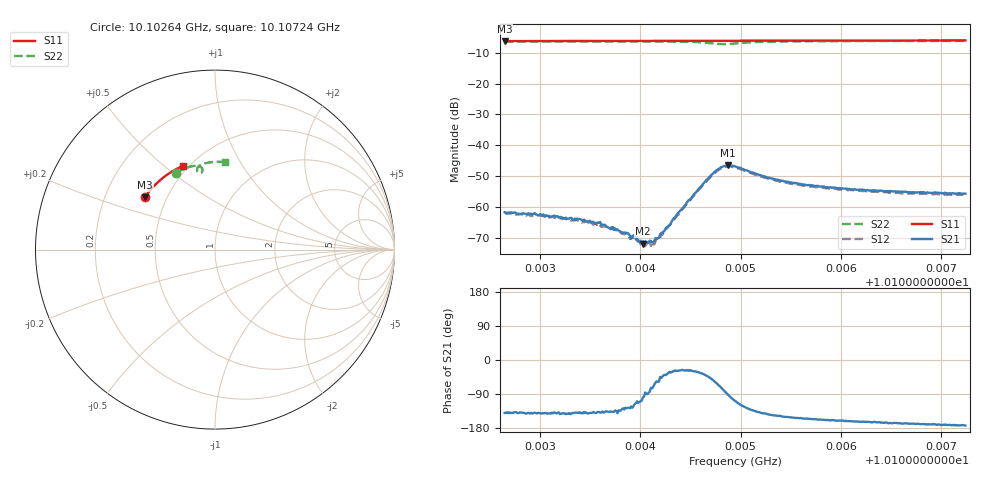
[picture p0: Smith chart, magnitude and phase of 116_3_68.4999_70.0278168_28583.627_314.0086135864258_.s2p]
#  HZ  S  RI  R  50.00
! Rohde & Schwarz Vector Network Analyzer
! Rohde-Schwarz,ZNB20-2Port,1311601062101988,3.16
! Created: UTC 3/20/2024, 4:53:47 PM
! freq[Hz]  re:S11  im:S11  re:S21  im:S21  re:S12  im:S12  re:S22  im:S22
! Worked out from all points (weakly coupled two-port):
!   401 points, 10.10264 GHz to 10.10724 GHz, reference 50 ohm
!   highest |S21| = -46.55 dB at 10.10488 GHz (marker M1); lowest = -71.9 dB at 10.10402 GHz (marker M2)
!   lowest |S11| = -6.2 dB at 10.10264 GHz (marker M3), VSWR 2.90, Z = 18.9 + j14.5 ohm
!   |S11| at or under -10 dB: nowhere
!   |S22| runs from -7.2 to -6.2 dB; largest |S21 - S12| = 0.00048
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1.0102645e10  -0.3901 0.292  -0.00063 -0.000535  -0.000548 -0.00058  -0.2189 0.4268
1.010299e10  -0.3781 0.3091  -0.000564 -0.000476  -0.000527 -0.000506  -0.1987 0.4376
1.0103415e10  -0.3621 0.3295  -0.000464 -0.000404  -0.000389 -0.000403  -0.1727 0.4495
1.0103484e10  -0.3593 0.3326  -0.000447 -0.000367  -0.0004 -0.000377  -0.1682 0.4513
1.0103576e10  -0.3558 0.3369  -0.000415 -0.000379  -0.000374 -0.000383  -0.1623 0.4538
1.010368e10  -0.3515 0.3417  -0.000337 -0.000317  -0.000313 -0.000352  -0.1555 0.4563
1.0103737e10  -0.3492 0.3444  -0.000309 -0.000292  -0.000277 -0.000333  -0.1517 0.4578
1.0103944e10  -0.3408 0.3536  -0.000147 -0.000303  -0.00011 -0.000286  -0.1373 0.462
1.0104002e10  -0.3384 0.3561  -9.11e-05 -0.000267  -4.67e-05 -0.000245  -0.133 0.4632
1.0104025e10  -0.3374 0.3571  -3.89e-05 -0.000252  -1.69e-05 -0.000281  -0.131 0.4636
1.0104059e10  -0.3359 0.3586  3.69e-06 -0.000274  1.41e-05 -0.000247  -0.1285 0.4642
1.0104128e10  -0.3329 0.3615  8.69e-05 -0.000251  8.28e-05 -0.000234  -0.1232 0.4653
1.0104185e10  -0.3305 0.364  0.00017 -0.000263  0.000211 -0.000246  -0.1187 0.4659
1.010468e10  -0.3083 0.3845  0.00212 -0.00206  0.0022 -0.0018  -0.0707 0.4498
1.0104783e10  -0.3035 0.3883  0.00161 -0.00383  0.00191 -0.00353  -0.0731 0.4323
1.0104875e10  -0.2994 0.3917  -0.000128 -0.0047  0.000263 -0.00451  -0.0893 0.4275
1.0104944e10  -0.2964 0.3946  -0.00137 -0.00433  -0.000989 -0.00428  -0.0986 0.4353
1.0105324e10  -0.2782 0.4088  -0.00238 -0.00161  -0.00212 -0.00177  -0.0796 0.472
1.0105715e10  -0.2591 0.4225  -0.00205 -0.000924  -0.00185 -0.00104  -0.0497 0.4822
1.0106129e10  -0.2378 0.4359  -0.00183 -0.000596  -0.00172 -0.000715  -0.0205 0.4869
1.0106485e10  -0.2189 0.4466  -0.00173 -0.000429  -0.0016 -0.000554  0.00344 0.4887
1.0107244e10  -0.1776 0.4663  -0.00163 -0.0002  -0.00152 -0.000356  0.0534 0.488
